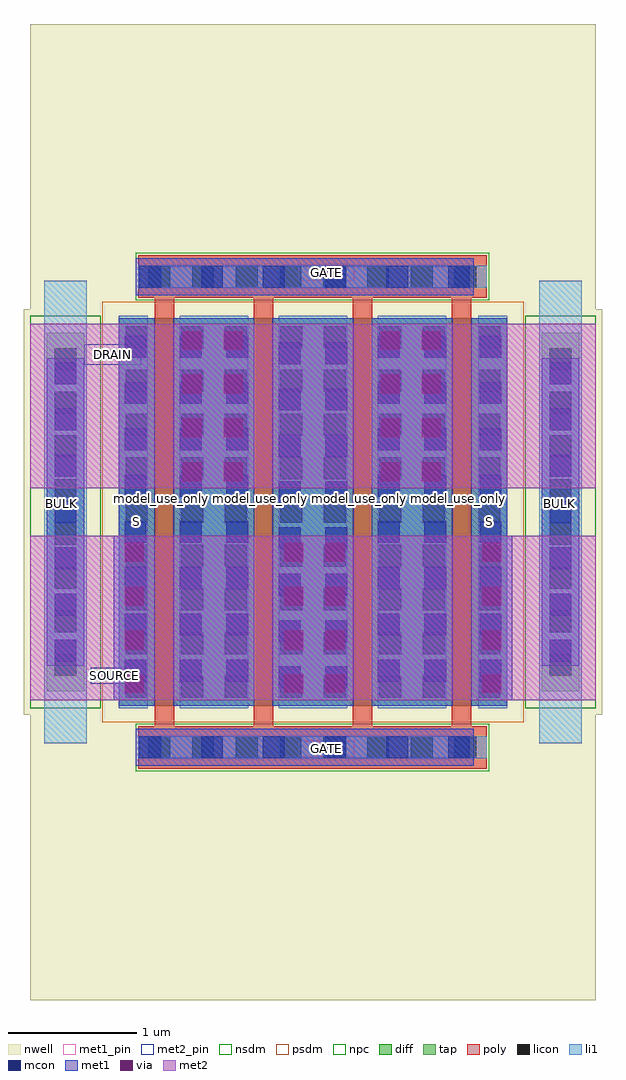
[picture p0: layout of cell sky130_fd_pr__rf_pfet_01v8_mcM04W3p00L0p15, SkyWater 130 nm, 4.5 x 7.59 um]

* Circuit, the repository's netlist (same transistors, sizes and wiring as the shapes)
* Copyright 2020 The SkyWater PDK Authors
*
* Licensed under the Apache License, Version 2.0 (the "License");
* you may not use this file except in compliance with the License.
* You may obtain a copy of the License at
*
*     https://www.apache.org/licenses/LICENSE-2.0
*
* Unless required by applicable law or agreed to in writing, software
* distributed under the License is distributed on an "AS IS" BASIS,
* WITHOUT WARRANTIES OR CONDITIONS OF ANY KIND, either express or implied.
* See the License for the specific language governing permissions and
* limitations under the License.
*
* SPDX-License-Identifier: Apache-2.0


.subckt sky130_fd_pr__rf_pfet_01v8_mcM04W3p00L0p15 DRAIN GATE SOURCE BULK
X0 DRAIN GATE SOURCE BULK sky130_fd_pr__pfet_01v8 w=3.01e+06u l=150000u
X1 SOURCE GATE DRAIN BULK sky130_fd_pr__pfet_01v8 w=3.01e+06u l=150000u
X2 DRAIN GATE SOURCE BULK sky130_fd_pr__pfet_01v8 w=3.01e+06u l=150000u
X3 SOURCE GATE DRAIN BULK sky130_fd_pr__pfet_01v8 w=3.01e+06u l=150000u
.ends

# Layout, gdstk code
import gdstk
lib = gdstk.Library(unit=1e-6, precision=1e-09)
def R(c, l, rs):  # rectangles x0, y0, x1, y1
    for r in rs: c.add(gdstk.rectangle(r[:2], r[2:], *l))
def A(c, l, x, y, w, h, nx, ny, dx, dy):  # array of equal rectangles
    R(c, l, [(x+i*dx, y+j*dy, x+i*dx+w, y+j*dy+h) for i in range(nx) for j in range(ny)])
nwell = (64, 20)
diff = (65, 20)
tap = (65, 44)
poly = (66, 20)
licon = (66, 44)
li1 = (67, 20)
mcon = (67, 44)
met1_pin = (68, 16)
met1 = (68, 20)
via = (68, 44)
met2_pin = (69, 16)
met2 = (69, 20)
nsdm = (93, 44)
psdm = (94, 20)
npc = (95, 20)

sky130_fd_pr__rf_pfet_01 = lib.new_cell('sky130_fd_pr__rf_pfet_01v8_mcM04W3p00L0p15')
R(sky130_fd_pr__rf_pfet_01, nwell, [(0,0,4.4,7.59), (-0.05,2.22,0.6,5.37), (3.8,2.22,4.45,5.37)])
A(sky130_fd_pr__rf_pfet_01, diff, 0.97, 2.29, 0.15, 3.01, 4, 1, 0.77, 0)
A(sky130_fd_pr__rf_pfet_01, diff, 1.12, 2.29, 0.62, 3.01, 3, 1, 0.77, 0)
R(sky130_fd_pr__rf_pfet_01, diff, [(0.69,2.29,0.97,5.3), (3.43,2.29,3.71,5.3)])
R(sky130_fd_pr__rf_pfet_01, tap, [(0.13,2.4,0.42,5.19), (3.98,2.4,4.27,5.19)])
A(sky130_fd_pr__rf_pfet_01, poly, 0.97, 2.13, 0.15, 3.33, 4, 1, 0.77, 0)
R(sky130_fd_pr__rf_pfet_01, poly, [(0.84,1.8,3.55,2.13), (0.84,5.46,3.55,5.79)])
A(sky130_fd_pr__rf_pfet_01, licon, 0.92, 1.88, 0.17, 0.17, 8, 2, 0.34, 3.66)
A(sky130_fd_pr__rf_pfet_01, licon, 0.745, 2.35, 0.17, 0.17, 1, 9, 0, 0.34)
A(sky130_fd_pr__rf_pfet_01, licon, 1.175, 2.35, 0.17, 0.17, 1, 9, 0, 0.34)
A(sky130_fd_pr__rf_pfet_01, licon, 1.515, 2.35, 0.17, 0.17, 1, 9, 0, 0.34)
A(sky130_fd_pr__rf_pfet_01, licon, 1.945, 2.35, 0.17, 0.17, 1, 9, 0, 0.34)
A(sky130_fd_pr__rf_pfet_01, licon, 2.285, 2.35, 0.17, 0.17, 1, 9, 0, 0.34)
A(sky130_fd_pr__rf_pfet_01, licon, 2.715, 2.35, 0.17, 0.17, 1, 9, 0, 0.34)
A(sky130_fd_pr__rf_pfet_01, licon, 3.055, 2.35, 0.17, 0.17, 1, 9, 0, 0.34)
A(sky130_fd_pr__rf_pfet_01, licon, 3.485, 2.35, 0.17, 0.17, 1, 9, 0, 0.34)
A(sky130_fd_pr__rf_pfet_01, licon, 0.19, 2.52, 0.17, 0.17, 1, 8, 0, 0.34)
A(sky130_fd_pr__rf_pfet_01, licon, 4.04, 2.52, 0.17, 0.17, 1, 8, 0, 0.34)
A(sky130_fd_pr__rf_pfet_01, li1, 1.165, 2.27, 0.53, 3.05, 3, 1, 0.77, 0)
R(sky130_fd_pr__rf_pfet_01, li1, [(0.84,1.88,3.55,2.05), (0.85,1.88,3.42,2.05), (0.11,1.995,0.44,2.52), (3.96,1.995,4.29,2.52), (0.69,2.27,0.915,5.32), (3.485,2.27,3.71,5.32), (0.11,2.52,0.44,5.07), (3.96,2.52,4.29,5.07), (0.11,5.07,0.44,5.595), (3.96,5.07,4.29,5.595), (0.84,5.54,3.55,5.71), (0.85,5.54,3.42,5.71)])
A(sky130_fd_pr__rf_pfet_01, mcon, 0.85, 1.88, 0.17, 0.17, 6, 2, 0.48, 3.66)
A(sky130_fd_pr__rf_pfet_01, mcon, 1.935, 2.425, 0.17, 0.17, 1, 8, 0, 0.36)
A(sky130_fd_pr__rf_pfet_01, mcon, 2.295, 2.425, 0.17, 0.17, 1, 8, 0, 0.36)
A(sky130_fd_pr__rf_pfet_01, mcon, 0.735, 2.475, 0.17, 0.17, 1, 8, 0, 0.36)
A(sky130_fd_pr__rf_pfet_01, mcon, 1.165, 2.475, 0.17, 0.17, 1, 8, 0, 0.36)
A(sky130_fd_pr__rf_pfet_01, mcon, 1.525, 2.475, 0.17, 0.17, 1, 8, 0, 0.36)
A(sky130_fd_pr__rf_pfet_01, mcon, 2.705, 2.475, 0.17, 0.17, 1, 8, 0, 0.36)
A(sky130_fd_pr__rf_pfet_01, mcon, 3.065, 2.475, 0.17, 0.17, 1, 8, 0, 0.36)
A(sky130_fd_pr__rf_pfet_01, mcon, 3.495, 2.475, 0.17, 0.17, 1, 8, 0, 0.36)
A(sky130_fd_pr__rf_pfet_01, mcon, 0.19, 2.63, 0.17, 0.17, 1, 7, 0, 0.36)
A(sky130_fd_pr__rf_pfet_01, mcon, 4.04, 2.63, 0.17, 0.17, 1, 7, 0, 0.36)
R(sky130_fd_pr__rf_pfet_01, met1_pin, [(2.09,1.89,2.52,2.015), (2.09,1.89,2.52,2.015), (0.18,3.69,0.31,4.025), (0.18,3.69,0.31,4.025), (4.05,3.69,4.18,4.025), (2.09,5.595,2.52,5.72)])
A(sky130_fd_pr__rf_pfet_01, met1, 1.115, 2.29, 0.63, 3.01, 3, 1, 0.77, 0)
R(sky130_fd_pr__rf_pfet_01, met1, [(0.82,1.82,3.45,2.11), (1.65,1.82,2.89,2.11), (0.69,2.29,0.97,5.3), (3.43,2.29,3.71,5.3), (0.65,2.33,0.97,3.61), (1.115,2.33,1.745,3.61), (2.655,2.33,3.285,3.61), (3.43,2.33,3.75,3.61), (0.13,2.6,0.42,4.99), (3.98,2.6,4.27,4.99), (0.13,3.19,0.42,4.43), (1.885,3.98,2.515,5.26), (0.82,5.48,3.45,5.77)])
A(sky130_fd_pr__rf_pfet_01, via, 0.735, 2.385, 0.15, 0.15, 1, 4, 0, 0.34)
A(sky130_fd_pr__rf_pfet_01, via, 1.975, 2.385, 0.15, 0.15, 1, 4, 0, 0.34)
A(sky130_fd_pr__rf_pfet_01, via, 2.295, 2.385, 0.15, 0.15, 1, 4, 0, 0.34)
A(sky130_fd_pr__rf_pfet_01, via, 3.515, 2.385, 0.15, 0.15, 1, 4, 0, 0.34)
A(sky130_fd_pr__rf_pfet_01, via, 1.185, 4.035, 0.15, 0.15, 1, 4, 0, 0.34)
A(sky130_fd_pr__rf_pfet_01, via, 1.505, 4.035, 0.15, 0.15, 1, 4, 0, 0.34)
A(sky130_fd_pr__rf_pfet_01, via, 2.725, 4.035, 0.15, 0.15, 1, 4, 0, 0.34)
A(sky130_fd_pr__rf_pfet_01, via, 3.045, 4.035, 0.15, 0.15, 1, 4, 0, 0.34)
R(sky130_fd_pr__rf_pfet_01, met2_pin, [(0.47,2.46,0.85,2.585), (0.47,2.46,0.85,2.585), (0.42,4.94,0.865,5.1), (0.42,4.94,0.865,5.1)])
R(sky130_fd_pr__rf_pfet_01, met2, [(0,2.33,4.4,3.61), (1.105,2.33,1.745,3.61), (2.645,2.33,3.285,3.61), (3.43,2.33,3.75,3.61), (0,2.37,1.24,2.675), (0,3.98,4.4,5.26), (1.885,3.98,2.525,5.26), (0,4.87,1.24,5.175)])
R(sky130_fd_pr__rf_pfet_01, nsdm, [(0,2.27,0.55,5.32), (3.85,2.27,4.4,5.32)])
A(sky130_fd_pr__rf_pfet_01, psdm, 0.97, 2.16, 0.15, 3.27, 4, 1, 0.77, 0)
A(sky130_fd_pr__rf_pfet_01, psdm, 1.12, 2.16, 0.62, 3.27, 3, 1, 0.77, 0)
R(sky130_fd_pr__rf_pfet_01, psdm, [(0.56,2.16,0.97,5.43), (3.43,2.16,3.84,5.43)])
R(sky130_fd_pr__rf_pfet_01, npc, [(0.82,1.78,3.57,2.15), (0.82,5.44,3.57,5.81)])
sky130_fd_pr__rf_pfet_01.add(gdstk.Label('model_use_only', (3.335,3.9), layer=66, texttype=83))
sky130_fd_pr__rf_pfet_01.add(gdstk.Label('model_use_only', (1.025,3.9), layer=66, texttype=83))
sky130_fd_pr__rf_pfet_01.add(gdstk.Label('model_use_only', (2.565,3.9), layer=66, texttype=83))
sky130_fd_pr__rf_pfet_01.add(gdstk.Label('model_use_only', (1.795,3.9), layer=66, texttype=83))
sky130_fd_pr__rf_pfet_01.add(gdstk.Label('S', (0.83,3.725), layer=83, texttype=44))
sky130_fd_pr__rf_pfet_01.add(gdstk.Label('D', (1.38,3.81), layer=83, texttype=44))
sky130_fd_pr__rf_pfet_01.add(gdstk.Label('S', (2.18,3.81), layer=83, texttype=44))
sky130_fd_pr__rf_pfet_01.add(gdstk.Label('S', (3.57,3.725), layer=83, texttype=44))
sky130_fd_pr__rf_pfet_01.add(gdstk.Label('D', (2.92,3.81), layer=83, texttype=44))
sky130_fd_pr__rf_pfet_01.add(gdstk.Label('DRAIN', (0.643,5.02), layer=69, texttype=5))
sky130_fd_pr__rf_pfet_01.add(gdstk.Label('SOURCE', (0.66,2.523), layer=69, texttype=5))
sky130_fd_pr__rf_pfet_01.add(gdstk.Label('BULK', (0.245,3.858), layer=68, texttype=5))
sky130_fd_pr__rf_pfet_01.add(gdstk.Label('GATE', (2.305,1.953), layer=68, texttype=5))
sky130_fd_pr__rf_pfet_01.add(gdstk.Label('GATE', (2.305,5.658), layer=68, texttype=5))
sky130_fd_pr__rf_pfet_01.add(gdstk.Label('BULK', (4.115,3.858), layer=68, texttype=5))

lib.write_gds('sky130_fd_pr__rf_pfet_01v8_mcM04W3p00L0p15.gds')
